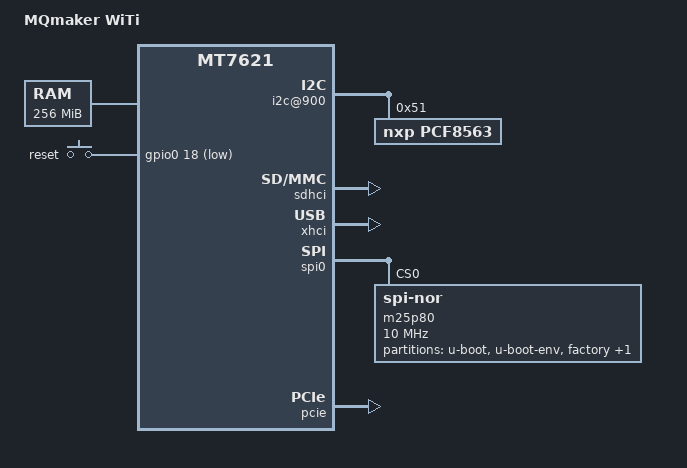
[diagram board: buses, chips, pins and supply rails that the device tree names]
/dts-v1/;

#include "mt7621.dtsi"

/ {
	compatible = "mediatek,mt7621-eval-board", "mediatek,mt7621-soc";
	model = "MQmaker WiTi";

	memory@0 {
		device_type = "memory";
		reg = <0x0 0x10000000>;
	};

	chosen {
		bootargs = "console=ttyS0,57600";
	};

	palmbus: palmbus@1E000000 {
		i2c@900 {
			compatible = "ralink,i2c-mt7621";
			reg = <0x900 0x100>;
			#address-cells = <1>;
			#size-cells = <0>;
			pinctrl-names = "default";
			pinctrl-0 = <&i2c_pins>;
			status = "okay";

			pcf8563: rtc@51 {
				status = "okay";
				compatible = "nxp,pcf8563";
				reg = <0x51>;
			};
		};
	};

	gpio-keys-polled {
		compatible = "gpio-keys-polled";
		#address-cells = <1>;
		#size-cells = <0>;
		poll-interval = <20>;

		reset {
			label = "reset";
			gpios = <&gpio0 18 1>;
			linux,code = <0x198>;
		};
	};
};


&sdhci {
	status = "okay";
};

&xhci {
	status = "okay";
};

&spi0 {
	status = "okay";

	m25p80@0 {
		#address-cells = <1>;
		#size-cells = <1>;
		compatible = "jedec,spi-nor";
		reg = <0>;
		linux,modalias = "m25p80";
		spi-max-frequency = <10000000>;

		partition@0 {
			label = "u-boot";
			reg = <0x0 0x30000>;
			read-only;
		};

		partition@30000 {
			label = "u-boot-env";
			reg = <0x30000 0x10000>;
			read-only;
		};

		factory: partition@40000 {
			label = "factory";
			reg = <0x40000 0x10000>;
		};

		partition@50000 {
			label = "firmware";
			reg = <0x50000 0xfb0000>;
		};
	};
};

&pcie {
	status = "okay";

	pcie0 {
		mt76@0,0 {
			reg = <0x0000 0 0 0 0>;
			device_type = "pci";
			mediatek,mtd-eeprom = <&factory 0x8000>;
			mediatek,2ghz = <0>;
			mtd-mac-address = <&factory 0xe000>;
		};
	};

	pcie1 {
		mt76@1,0 {
			reg = <0x0000 0 0 0 0>;
			device_type = "pci";
			mediatek,mtd-eeprom = <&factory 0x0000>;
			mediatek,5ghz = <0>;
			mtd-mac-address = <&factory 0xe000>;
		};
	};
};

&ethernet {
	mtd-mac-address = <&factory 0xe000>;
};

&pinctrl {
	state_default: pinctrl0 {
		gpio {
			ralink,group = "wdt", "rgmii2", "jtag", "mdio";
			ralink,function = "gpio";
		};
	};
};
